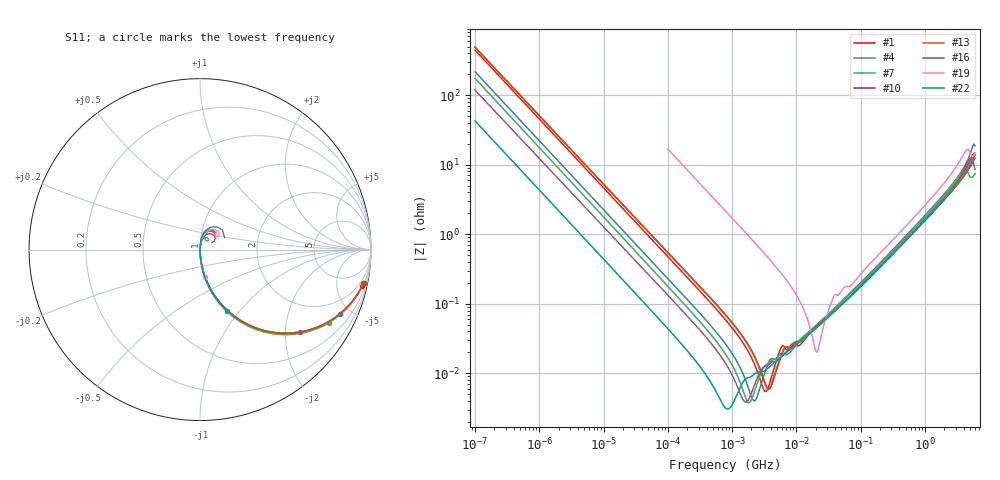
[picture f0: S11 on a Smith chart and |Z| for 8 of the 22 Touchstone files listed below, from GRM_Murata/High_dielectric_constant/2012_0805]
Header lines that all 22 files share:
!These Parameters are Measured in Series Mode Connection
!Data Generated on Mar 30, 2021
!  o--ll--o
!Port1  Port2
!  o------o
!Operation Temp=25[degC], DC Bias Voltage=0[V]
# Hz S RI R 50
!Freq.(Hz) S11(Real) S11(Imag) S21(Real) S21(Imag) S12(Real) S12(Imag) S22(Real) S22(Imag)
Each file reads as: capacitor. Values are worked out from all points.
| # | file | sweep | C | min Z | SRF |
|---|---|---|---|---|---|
| 1 | GRM21BC7YA475KE11.s2p | 100 Hz to 6 GHz | 3.57 uF | 5.48 mohm | 3.392 MHz |
| 2 | GRM21BC8YA106ME11.s2p | 100 Hz to 6 GHz | 7.33 uF | 4.32 mohm | 2.234 MHz |
| 3 | GRM21BC8YA475ME51.s2p | 100 Hz to 6 GHz | 3.31 uF | 5.86 mohm | 3.572 MHz |
| 4 | GRM21BC71E106KE11.s2p | 100 Hz to 6 GHz | 7.3 uF | 4.02 mohm | 2.266 MHz |
| 5 | GRM21BC71E225KE11.s2p | 100 Hz to 6 GHz | 1.52 uF | 7.33 mohm | 5.579 MHz |
| 6 | GRM21BC80E107ME15.s2p | 100 Hz to 6 GHz | 71.9 uF | 2.14 mohm | 615.8 kHz |
| 7 | GRM21BC80G106KE01.s2p | 100 Hz to 6 GHz | 9.09 uF | 3.76 mohm | 1.889 MHz |
| 8 | GRM21BC80G476ME15.s2p | 100 Hz to 6 GHz | 34.5 uF | 2.79 mohm | 910.9 kHz |
| 9 | GRM21BC80J106ME19.s2p | 100 Hz to 6 GHz | 8.4 uF | 3.77 mohm | 2.091 MHz |
| 10 | GRM21BC80J226ME51.s2p | 100 Hz to 6 GHz | 13.4 uF | 3.83 mohm | 1.695 MHz |
| 11 | GRM21BC81A226ME44.s2p | 100 Hz to 6 GHz | 16.5 uF | 3.18 mohm | - |
| 12 | GRM21BC81C106MA73.s2p | 100 Hz to 6 GHz | 6.02 uF | 4.77 mohm | 2.567 MHz |
| 13 | GRM21BC81C475KA88.s2p | 100 Hz to 6 GHz | 3.26 uF | 5.96 mohm | 3.738 MHz |
| 14 | GRM21BC81E106KE51.s2p | 100 Hz to 6 GHz | 5.92 uF | 4.94 mohm | 2.637 MHz |
| 15 | GRM21BC81E225KA12.s2p | 100 Hz to 6 GHz | 1.55 uF | 7.52 mohm | 5.415 MHz |
| 16 | GRM21BD71C475MA12.s2p | 100 Hz to 6 GHz | 3.21 uF | 5.86 mohm | 3.803 MHz |
| 17 | GRM21BR11C105KA01.s2p | 100 Hz to 6 GHz | 930 nF | 7.18 mohm | 6.546 MHz |
| 18 | GRM21BR11C224KA01.s2p | 100 Hz to 6 GHz | 218 nF | 14.3 mohm | 13.89 MHz |
| 19 | GRM21BR11E104KA01.s2p | 100 kHz to 6 GHz | 94.5 nF | 20.2 mohm | 20.84 MHz |
| 20 | GRM21BR11H104KA01.s2p | 100 Hz to 6 GHz | 96 nF | 20.4 mohm | 21.13 MHz |
| 21 | GRM21BR60J475KA11.s2p | 100 Hz to 6 GHz | 3.28 uF | 6.23 mohm | 3.722 MHz |
| 22 | GRM21BR60J476ME11.s2p | 100 Hz to 6 GHz | 37.2 uF | 3.06 mohm | 892.3 kHz |
